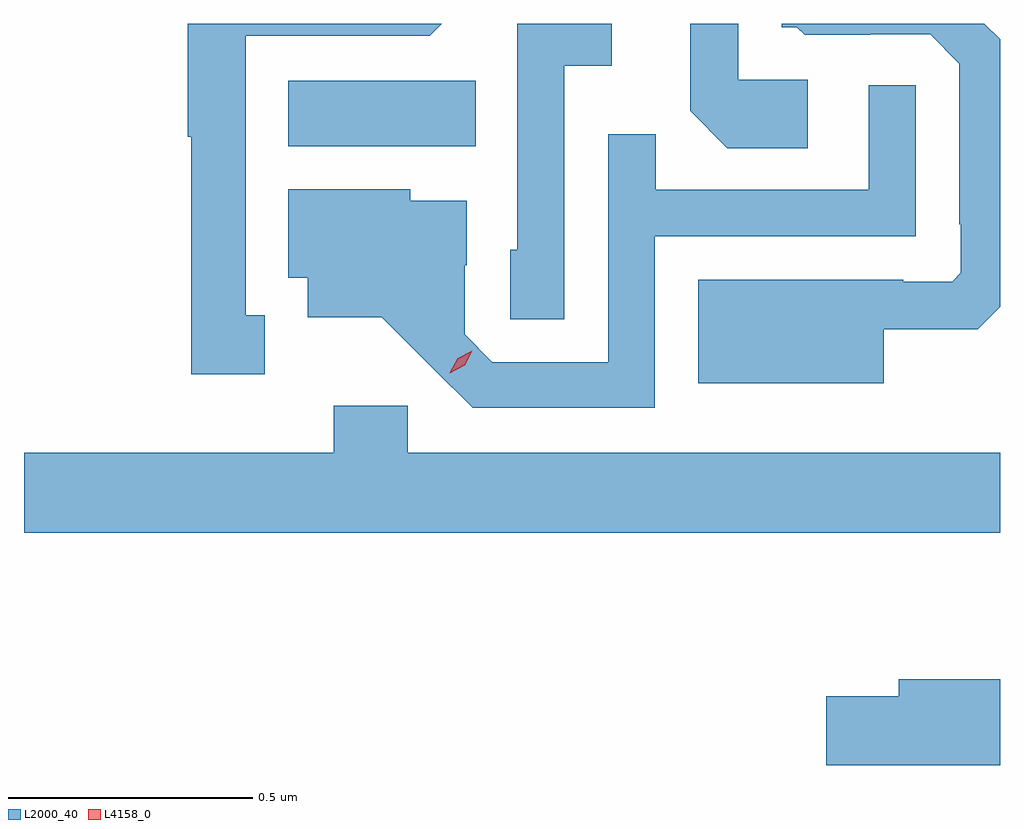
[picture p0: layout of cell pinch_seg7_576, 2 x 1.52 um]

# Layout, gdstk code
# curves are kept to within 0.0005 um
import gdstk
lib = gdstk.Library(unit=1e-6, precision=1e-09)
def R(c, l, rs):  # rectangles x0, y0, x1, y1
    for r in rs: c.add(gdstk.rectangle(r[:2], r[2:], *l))
def P(c, l, *ps):  # polygons
    for p in ps: c.add(gdstk.Polygon(p, *l))
L2000_40 = (2000, 40)
L4158_0 = (4158, 0)

pinch_seg7_576 = lib.new_cell('pinch_seg7_576')
R(pinch_seg7_576, L2000_40, [(136.262,1053.356,136.646,1053.49)])
P(pinch_seg7_576, L2000_40, [(137.482,1052.981),(137.674,1052.981),(137.72,1053.027),(137.72,1053.575),(137.688,1053.607),(137.273,1053.607),(137.273,1053.6),(137.304,1053.6),(137.32,1053.584),(137.454,1053.584),(137.454,1053.585),(137.577,1053.585),(137.637,1053.525),(137.637,1053.196),(137.64,1053.196),(137.64,1053.096),(137.622,1053.078),(137.522,1053.078),(137.522,1053.082),(137.102,1053.082),(137.102,1052.87),(137.482,1052.87)],
  [(136.827,1053.521),(136.924,1053.521),(136.924,1053.607),(136.731,1053.607),(136.731,1053.144),(136.716,1053.144),(136.716,1053.001),(136.827,1053.001)],
  [(136.213,1053.009),(136.174,1053.009),(136.174,1053.582),(136.551,1053.582),(136.576,1053.607),(136.056,1053.607),(136.056,1053.375),(136.063,1053.375),(136.063,1052.889),(136.213,1052.889)],
  [(137.326,1053.492),(137.184,1053.492),(137.184,1053.607),(137.085,1053.607),(137.085,1053.428),(137.161,1053.352),(137.326,1053.352)],
  [(137.013,1053.171),(137.547,1053.171),(137.547,1053.481),(137.451,1053.481),(137.451,1053.267),(137.015,1053.267),(137.015,1053.38),(136.917,1053.38),(136.917,1052.913),(136.68,1052.913),(136.623,1052.97),(136.623,1053.112),(136.627,1053.112),(136.627,1053.244),(136.512,1053.244),(136.512,1053.268),(136.262,1053.268),(136.262,1053.086),(136.301,1053.086),(136.301,1053.005),(136.453,1053.005),(136.64,1052.82),(137.013,1052.82)],
  [(137.72,1052.728),(136.506,1052.728),(136.506,1052.824),(136.355,1052.824),(136.355,1052.728),(135.72,1052.728),(135.72,1052.564),(137.72,1052.564)],
  [(137.72,1052.263),(137.513,1052.263),(137.513,1052.229),(137.364,1052.229),(137.364,1052.087),(137.72,1052.087)])
P(pinch_seg7_576, L4158_0, [(136.592,1052.891),(136.592,1052.892),(136.609,1052.921),(136.639,1052.937),(136.639,1052.937),(136.639,1052.937),(136.623,1052.907),(136.592,1052.891)])

lib.write_gds('pinch_seg7_576.gds')
